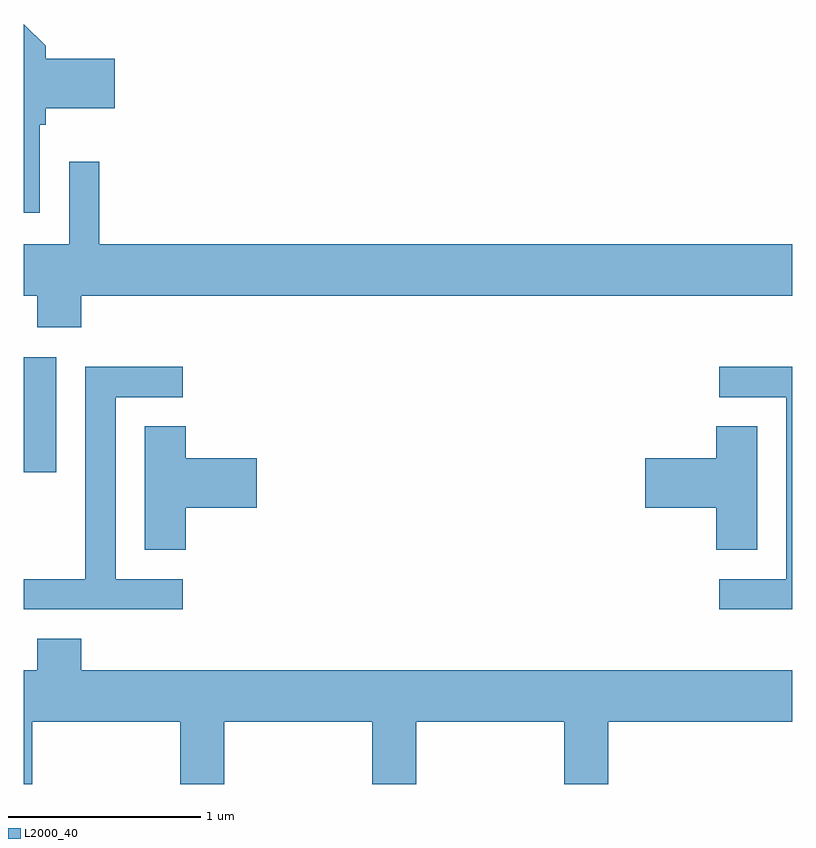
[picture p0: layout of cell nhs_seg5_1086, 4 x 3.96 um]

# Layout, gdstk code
import gdstk
lib = gdstk.Library(unit=1e-6, precision=1e-09)
def R(c, l, rs):  # rectangles x0, y0, x1, y1
    for r in rs: c.add(gdstk.rectangle(r[:2], r[2:], *l))
def P(c, l, *ps):  # polygons
    for p in ps: c.add(gdstk.Polygon(p, *l))
L2000_40 = (2000, 40)

nhs_seg5_1086 = lib.new_cell('nhs_seg5_1086')
R(nhs_seg5_1086, L2000_40, [(217.611,1413.696,217.779,1414.294)])
P(nhs_seg5_1086, L2000_40, [(217.694,1415.506),(217.724,1415.506),(217.724,1415.591),(218.084,1415.591),(218.084,1415.849),(217.724,1415.849),(217.724,1415.917),(217.611,1416.03),(217.611,1415.046),(217.694,1415.046)],
  [(217.909,1414.616),(221.611,1414.616),(221.611,1414.884),(218.004,1414.884),(218.004,1415.313),(217.846,1415.313),(217.846,1414.884),(217.611,1414.884),(217.611,1414.616),(217.681,1414.616),(217.681,1414.451),(217.909,1414.451)],
  [(218.438,1413.139),(218.089,1413.139),(218.089,1414.086),(218.438,1414.086),(218.438,1414.244),(217.931,1414.244),(217.931,1413.139),(217.611,1413.139),(217.611,1412.981),(218.438,1412.981)],
  [(221.611,1414.244),(221.233,1414.244),(221.233,1414.086),(221.581,1414.086),(221.581,1413.139),(221.233,1413.139),(221.233,1412.981),(221.611,1412.981)],
  [(221.429,1413.934),(221.216,1413.934),(221.216,1413.769),(220.846,1413.769),(220.846,1413.511),(221.216,1413.511),(221.216,1413.291),(221.429,1413.291)],
  [(218.454,1413.511),(218.824,1413.511),(218.824,1413.769),(218.454,1413.769),(218.454,1413.934),(218.241,1413.934),(218.241,1413.291),(218.454,1413.291)],
  [(217.654,1412.396),(218.426,1412.396),(218.426,1412.072),(218.654,1412.072),(218.654,1412.396),(219.426,1412.396),(219.426,1412.072),(219.654,1412.072),(219.654,1412.396),(220.426,1412.396),(220.426,1412.072),(220.654,1412.072),(220.654,1412.396),(221.611,1412.396),(221.611,1412.664),(217.909,1412.664),(217.909,1412.829),(217.681,1412.829),(217.681,1412.664),(217.611,1412.664),(217.611,1412.072),(217.654,1412.072)])

lib.write_gds('nhs_seg5_1086.gds')
